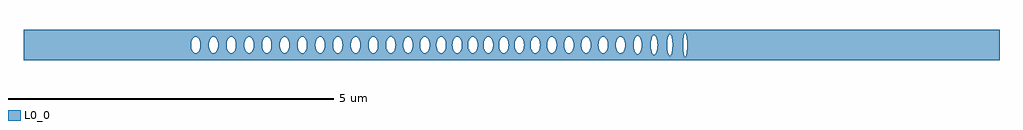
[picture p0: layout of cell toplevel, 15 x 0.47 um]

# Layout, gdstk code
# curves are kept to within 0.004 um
import gdstk
lib = gdstk.Library(unit=1e-6, precision=1e-09)
def P(c, l, *ps):  # polygons
    for p in ps: c.add(gdstk.Polygon(p, *l))
L0_0 = (0, 0)

toplevel = lib.new_cell('toplevel')
P(toplevel, L0_0, [(-4.363,-0.234),(-4.363,-0.081),(-4.379,-0.016),(-4.376,0.039),(-4.363,0.081),(-4.363,0.234),(-7.5,0.234),(-7.5,-0.016),(-4.925,-0.016),(-4.922,0.039),(-4.909,0.081),(-4.888,0.112),(-4.853,0.128),(-4.826,0.119),(-4.803,0.093),(-4.785,0.047),(-4.781,-0.016),(-4.652,-0.016),(-4.649,0.039),(-4.636,0.081),(-4.615,0.112),(-4.58,0.128),(-4.553,0.119),(-4.53,0.093),(-4.514,0.054),(-4.507,0),(-4.514,-0.054),(-4.53,-0.093),(-4.553,-0.119),(-4.58,-0.128),(-4.606,-0.119),(-4.626,-0.098),(-4.641,-0.068),(-4.652,-0.016),(-4.781,-0.016),(-4.785,-0.047),(-4.803,-0.093),(-4.826,-0.119),(-4.853,-0.128),(-4.879,-0.119),(-4.899,-0.098),(-4.914,-0.068),(-4.925,-0.016),(-7.5,-0.016),(-7.5,-0.234)],
  [(-4.356,0.093),(-4.334,0.119),(-4.307,0.128),(-4.293,0.125),(-4.268,0.108),(-4.248,0.075),(-4.238,0.039),(-4.235,-0.016),(-4.106,-0.016),(-4.103,0.039),(-4.084,0.093),(-4.061,0.119),(-4.034,0.128),(-4.02,0.125),(-3.995,0.108),(-3.975,0.075),(-3.965,0.039),(-3.962,-0.016),(-3.968,-0.054),(-3.984,-0.093),(-4.007,-0.119),(-4.034,-0.128),(-4.061,-0.119),(-4.084,-0.093),(-4.106,-0.016),(-4.235,-0.016),(-4.241,-0.054),(-4.257,-0.093),(-4.272,-0.112),(-4.293,-0.125),(-4.307,-0.128),(-4.334,-0.119),(-4.363,-0.081),(-4.363,-0.234),(-3.739,-0.234),(-3.739,-0.121),(-3.766,-0.127),(-3.8,-0.108),(-3.82,-0.075),(-3.833,-0.016),(-3.827,0.054),(-3.811,0.093),(-3.796,0.112),(-3.775,0.125),(-3.761,0.128),(-3.739,0.121),(-3.739,0.234),(-4.363,0.234),(-4.363,0.081)],
  [(-3.691,-0.032),(-3.708,-0.087),(-3.739,-0.121),(-3.739,-0.234),(-3.162,-0.234),(-3.162,-0.087),(-3.176,-0.108),(-3.197,-0.123),(-3.215,-0.128),(-3.242,-0.119),(-3.274,-0.075),(-3.288,0),(-3.274,0.075),(-3.242,0.119),(-3.215,0.128),(-3.202,0.125),(-3.18,0.112),(-3.162,0.087),(-3.162,0.234),(-3.739,0.234),(-3.739,0.121),(-3.722,0.108),(-3.702,0.075),(-3.689,0),(-3.561,0),(-3.554,0.054),(-3.538,0.093),(-3.515,0.119),(-3.488,0.128),(-3.461,0.119),(-3.449,0.108),(-3.432,0.081),(-3.419,0.039),(-3.416,-0.016),(-3.427,-0.068),(-3.449,-0.108),(-3.475,-0.125),(-3.488,-0.128),(-3.515,-0.119),(-3.538,-0.093),(-3.554,-0.054),(-3.561,0),(-3.689,0)],
  [(-3.145,-0.032),(-3.162,-0.087),(-3.162,-0.234),(-2.465,-0.234),(-2.465,0.234),(-3.162,0.234),(-3.162,0.087),(-3.146,0.039),(-3.143,-0.008),(-3.015,-0.008),(-3.01,0.047),(-2.992,0.093),(-2.969,0.119),(-2.942,0.128),(-2.907,0.112),(-2.886,0.081),(-2.873,0.039),(-2.87,-0.008),(-2.742,-0.008),(-2.737,0.047),(-2.712,0.103),(-2.683,0.125),(-2.669,0.128),(-2.643,0.119),(-2.623,0.098),(-2.608,0.068),(-2.597,-0.008),(-2.602,-0.047),(-2.62,-0.093),(-2.634,-0.112),(-2.656,-0.125),(-2.683,-0.125),(-2.712,-0.103),(-2.733,-0.061),(-2.742,-0.008),(-2.87,-0.008),(-2.875,-0.047),(-2.893,-0.093),(-2.916,-0.119),(-2.942,-0.128),(-2.969,-0.119),(-2.992,-0.093),(-3.01,-0.048),(-3.015,-0.008),(-3.143,-0.008)],
  [(-2.464,0.047),(-2.435,0.108),(-2.423,0.119),(-2.396,0.128),(-2.37,0.119),(-2.347,0.093),(-2.329,0.047),(-2.324,-0.008),(-2.197,-0.008),(-2.192,0.047),(-2.174,0.093),(-2.151,0.119),(-2.124,0.128),(-2.098,0.119),(-2.071,0.087),(-2.055,0.039),(-2.052,-0.016),(-2.063,-0.068),(-2.078,-0.098),(-2.098,-0.119),(-2.124,-0.128),(-2.151,-0.119),(-2.174,-0.093),(-2.192,-0.047),(-2.197,-0.008),(-2.324,-0.008),(-2.329,-0.047),(-2.347,-0.093),(-2.37,-0.119),(-2.396,-0.128),(-2.423,-0.119),(-2.435,-0.108),(-2.455,-0.075),(-2.465,-0.042),(-2.465,-0.234),(-1.868,-0.234),(-1.868,-0.125),(-1.89,-0.112),(-1.908,-0.087),(-1.927,-0.016),(-1.924,0.039),(-1.911,0.081),(-1.894,0.108),(-1.868,0.125),(-1.868,0.234),(-2.465,0.234)],
  [(-1.859,0.127),(-1.828,0.119),(-1.805,0.093),(-1.789,0.054),(-1.783,-0.008),(-1.663,-0.008),(-1.658,0.047),(-1.637,0.098),(-1.613,0.121),(-1.59,0.128),(-1.577,0.125),(-1.552,0.108),(-1.532,0.075),(-1.52,0.032),(-1.518,-0.008),(-1.523,-0.047),(-1.541,-0.093),(-1.564,-0.119),(-1.59,-0.128),(-1.617,-0.119),(-1.637,-0.098),(-1.652,-0.068),(-1.663,-0.008),(-1.783,-0.008),(-1.791,-0.061),(-1.812,-0.103),(-1.841,-0.125),(-1.868,-0.125),(-1.868,-0.234),(-1.282,-0.234),(-1.282,-0.093),(-1.297,-0.112),(-1.318,-0.125),(-1.332,-0.128),(-1.359,-0.119),(-1.391,-0.075),(-1.404,-0.016),(-1.398,0.054),(-1.382,0.093),(-1.367,0.112),(-1.346,0.125),(-1.318,0.125),(-1.297,0.112),(-1.282,0.093),(-1.282,0.234),(-1.868,0.234),(-1.868,0.125)],
  [(-1.262,-0.032),(-1.282,-0.093),(-1.282,-0.234),(-0.652,-0.234),(-0.652,-0.075),(-0.666,-0.016),(-0.663,0.039),(-0.652,0.074),(-0.652,0.234),(-1.282,0.234),(-1.282,0.093),(-1.263,0.039),(-1.26,-0.008),(-1.153,-0.008),(-1.148,0.047),(-1.13,0.093),(-1.107,0.119),(-1.08,0.128),(-1.054,0.119),(-1.027,0.087),(-1.011,0.039),(-1.008,-0.008),(-0.907,-0.008),(-0.902,0.047),(-0.881,0.098),(-0.848,0.125),(-0.835,0.128),(-0.808,0.119),(-0.788,0.098),(-0.773,0.068),(-0.762,-0.008),(-0.767,-0.047),(-0.785,-0.093),(-0.8,-0.112),(-0.821,-0.125),(-0.853,-0.123),(-0.881,-0.098),(-0.896,-0.068),(-0.907,-0.008),(-1.008,-0.008),(-1.011,-0.039),(-1.027,-0.087),(-1.054,-0.119),(-1.08,-0.128),(-1.107,-0.119),(-1.13,-0.093),(-1.148,-0.047),(-1.153,-0.008),(-1.26,-0.008)],
  [(-0.19,0.016),(-0.177,0.075),(-0.145,0.119),(-0.145,0.234),(-0.652,0.234),(-0.652,0.075),(-0.633,0.108),(-0.62,0.119),(-0.594,0.128),(-0.567,0.119),(-0.544,0.093),(-0.53,0.061),(-0.522,-0.016),(-0.428,-0.016),(-0.425,0.039),(-0.412,0.081),(-0.391,0.112),(-0.356,0.128),(-0.329,0.119),(-0.306,0.093),(-0.29,0.054),(-0.283,0),(-0.29,-0.054),(-0.306,-0.093),(-0.329,-0.119),(-0.351,-0.127),(-0.382,-0.119),(-0.402,-0.098),(-0.417,-0.068),(-0.428,-0.016),(-0.522,-0.016),(-0.528,-0.054),(-0.544,-0.093),(-0.559,-0.112),(-0.58,-0.125),(-0.594,-0.128),(-0.62,-0.119),(-0.633,-0.108),(-0.652,-0.075),(-0.652,-0.234),(-0.145,-0.234),(-0.145,-0.119),(-0.165,-0.098),(-0.18,-0.068),(-0.19,-0.024)],
  [(-0.132,0.125),(-0.119,0.128),(-0.096,0.121),(-0.072,0.098),(-0.051,0.047),(-0.046,-0.008),(0.048,-0.008),(0.053,0.047),(0.071,0.093),(0.086,0.112),(0.107,0.125),(0.139,0.123),(0.167,0.098),(0.182,0.068),(0.193,-0.008),(0.188,-0.047),(0.17,-0.093),(0.147,-0.119),(0.121,-0.128),(0.094,-0.119),(0.071,-0.093),(0.053,-0.047),(0.048,-0.008),(-0.046,-0.008),(-0.057,-0.068),(-0.08,-0.108),(-0.092,-0.119),(-0.119,-0.128),(-0.145,-0.119),(-0.145,-0.234),(0.413,-0.234),(0.413,-0.098),(0.38,-0.125),(0.366,-0.128),(0.34,-0.119),(0.32,-0.098),(0.305,-0.068),(0.294,-0.008),(0.305,0.068),(0.332,0.112),(0.366,0.128),(0.393,0.119),(0.413,0.098),(0.413,0.234),(-0.145,0.234),(-0.145,0.119)],
  [(1.077,-0.039),(1.079,0.234),(0.413,0.234),(0.413,0.098),(0.434,0.047),(0.438,-0.016),(0.549,-0.016),(0.552,0.039),(0.565,0.081),(0.586,0.112),(0.621,0.128),(0.648,0.119),(0.671,0.093),(0.689,0.047),(0.694,-0.008),(0.81,-0.008),(0.815,0.047),(0.833,0.093),(0.856,0.119),(0.883,0.128),(0.909,0.119),(0.929,0.098),(0.944,0.068),(0.955,0.008),(0.95,-0.047),(0.932,-0.093),(0.909,-0.119),(0.883,-0.128),(0.856,-0.119),(0.836,-0.098),(0.821,-0.068),(0.81,-0.008),(0.694,-0.008),(0.689,-0.047),(0.671,-0.093),(0.648,-0.119),(0.621,-0.128),(0.595,-0.119),(0.575,-0.098),(0.56,-0.068),(0.549,-0.016),(0.438,-0.016),(0.428,-0.068),(0.413,-0.098),(0.413,-0.234),(1.079,-0.234)],
  [(1.604,0.016),(1.614,0.068),(1.629,0.098),(1.649,0.119),(1.684,0.126),(1.684,0.234),(1.079,0.234),(1.079,0.047),(1.087,0.075),(1.107,0.108),(1.132,0.125),(1.151,0.127),(1.181,0.112),(1.205,0.075),(1.215,0.039),(1.218,-0.008),(1.337,-0.008),(1.34,0.039),(1.36,0.093),(1.383,0.119),(1.409,0.128),(1.436,0.119),(1.459,0.093),(1.477,0.047),(1.482,0.008),(1.477,-0.047),(1.459,-0.093),(1.436,-0.119),(1.409,-0.128),(1.383,-0.119),(1.363,-0.098),(1.348,-0.068),(1.337,-0.008),(1.218,-0.008),(1.213,-0.047),(1.196,-0.093),(1.173,-0.119),(1.146,-0.128),(1.119,-0.119),(1.107,-0.108),(1.087,-0.075),(1.079,-0.048),(1.079,-0.234),(1.684,-0.234),(1.684,-0.126),(1.649,-0.119),(1.626,-0.093),(1.608,-0.047)],
  [(1.746,-0.032),(1.722,-0.098),(1.702,-0.119),(1.684,-0.126),(1.684,-0.234),(2.23,-0.234),(2.23,-0.106),(2.205,-0.149),(2.192,-0.154),(2.179,-0.149),(2.156,-0.112),(2.14,-0.019),(2.143,0.057),(2.167,0.135),(2.185,0.153),(2.198,0.153),(2.217,0.135),(2.23,0.105),(2.23,0.234),(1.684,0.234),(1.684,0.126),(1.714,0.108),(1.734,0.075),(1.746,0.032),(1.747,-0.018),(1.877,-0.018),(1.881,0.052),(1.891,0.09),(1.909,0.123),(1.931,0.14),(1.947,0.14),(1.966,0.127),(1.982,0.103),(1.994,0.068),(2.001,0.018),(1.994,-0.068),(1.976,-0.114),(1.947,-0.14),(1.92,-0.134),(1.899,-0.108),(1.881,-0.052),(1.877,-0.018),(1.747,-0.018)],
  [(7.5,-0.234),(7.5,0.234),(2.23,0.234),(2.23,0.105),(2.243,0.029),(2.242,-0.031),(2.392,-0.031),(2.392,0.031),(2.401,0.106),(2.413,0.146),(2.431,0.167),(2.447,0.159),(2.466,0.106),(2.475,0.031),(2.474,-0.034),(2.637,-0.034),(2.641,0.096),(2.651,0.152),(2.666,0.18),(2.678,0.171),(2.687,0.146),(2.7,0.023),(2.693,-0.115),(2.682,-0.163),(2.67,-0.18),(2.658,-0.171),(2.648,-0.139),(2.637,-0.034),(2.474,-0.034),(2.46,-0.129),(2.447,-0.159),(2.431,-0.167),(2.418,-0.155),(2.407,-0.129),(2.392,-0.031),(2.242,-0.031),(2.23,-0.105),(2.23,-0.234)])

lib.write_gds('toplevel.gds')
